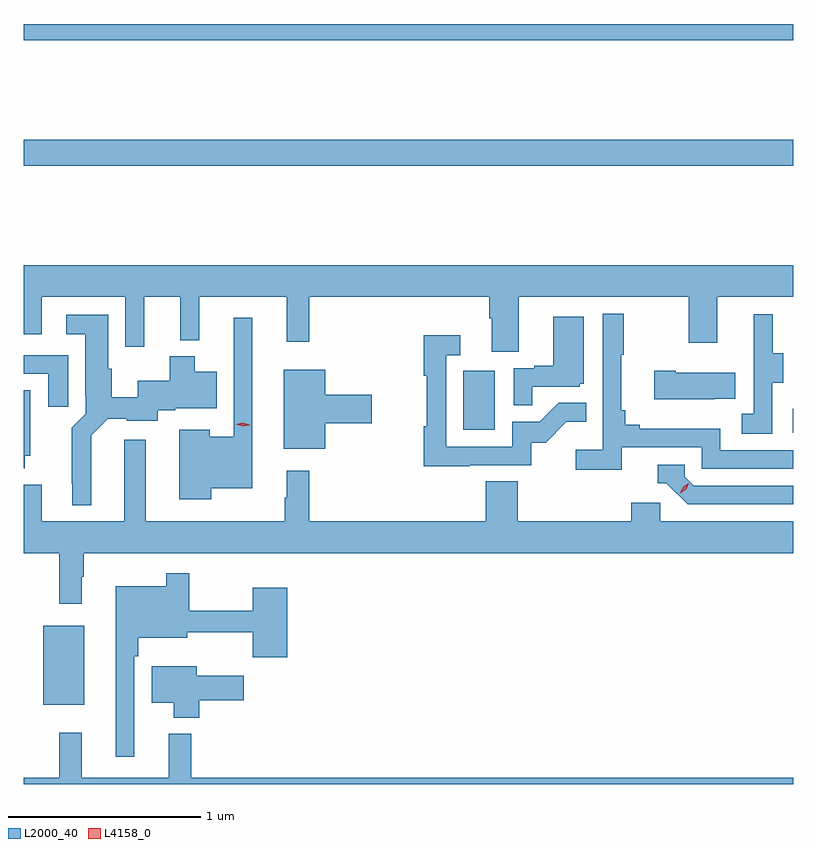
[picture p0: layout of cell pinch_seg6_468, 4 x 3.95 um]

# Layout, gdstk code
import gdstk
lib = gdstk.Library(unit=1e-6, precision=1e-09)
def R(c, l, rs):  # rectangles x0, y0, x1, y1
    for r in rs: c.add(gdstk.rectangle(r[:2], r[2:], *l))
def P(c, l, *ps):  # polygons
    for p in ps: c.add(gdstk.Polygon(p, *l))
L2000_40 = (2000, 40)
L4158_0 = (4158, 0)

pinch_seg6_468 = lib.new_cell('pinch_seg6_468')
R(pinch_seg6_468, L2000_40, [(866.21,915.911,866.425,916.321), (870.105,917.325,870.109,917.45), (868.394,917.34,868.558,917.647), (866.109,918.712,870.109,918.848), (866.109,919.364,870.109,919.449)])
P(pinch_seg6_468, L2000_40, [(868.681,918.032),(869.566,918.032),(869.566,917.793),(869.713,917.793),(869.713,918.032),(870.109,918.032),(870.109,918.196),(866.109,918.196),(866.109,917.838),(866.203,917.838),(866.203,918.032),(866.637,918.032),(866.637,917.772),(866.735,917.772),(866.735,918.032),(866.924,918.032),(866.924,917.807),(867.023,917.807),(867.023,918.032),(867.476,918.032),(867.476,917.799),(867.593,917.799),(867.593,918.032),(868.529,918.032),(868.529,917.92),(868.541,917.92),(868.541,917.746),(868.681,917.746)],
  [(869.216,917.25),(869.634,917.25),(869.634,917.139),(870.109,917.139),(870.109,917.235),(869.73,917.235),(869.73,917.347),(869.311,917.347),(869.311,917.366),(869.234,917.366),(869.234,917.443),(869.215,917.443),(869.215,917.731),(869.227,917.731),(869.227,917.944),(869.118,917.944),(869.118,917.236),(868.977,917.236),(868.977,917.134),(869.216,917.134)],
  [(870,917.584),(870.055,917.584),(870.055,917.739),(870.001,917.739),(870.001,917.941),(869.903,917.941),(869.903,917.727),(869.904,917.727),(869.904,917.423),(869.841,917.423),(869.841,917.32),(870,917.32)],
  [(866.461,917.312),(866.547,917.399),(866.646,917.399),(866.646,917.387),(866.807,917.387),(866.807,917.441),(866.896,917.441),(866.896,917.453),(867.112,917.453),(867.112,917.641),(866.998,917.641),(866.998,917.722),(866.869,917.722),(866.869,917.596),(866.703,917.596),(866.703,917.509),(866.566,917.509),(866.566,917.658),(866.548,917.658),(866.548,917.938),(866.331,917.938),(866.331,917.837),(866.429,917.837),(866.429,917.518),(866.433,917.518),(866.433,917.424),(866.359,917.35),(866.359,917.059),(866.363,917.059),(866.363,916.949),(866.461,916.949)],
  [(868.751,917.565),(868.998,917.565),(868.998,917.58),(869.02,917.58),(869.02,917.929),(868.862,917.929),(868.862,917.674),(868.763,917.674),(868.763,917.661),(868.656,917.661),(868.656,917.467),(868.751,917.467)],
  [(867.084,917.036),(867.298,917.036),(867.298,917.923),(867.201,917.923),(867.201,917.305),(867.076,917.305),(867.076,917.341),(866.918,917.341),(866.918,916.979),(867.084,916.979)],
  [(868.427,917.157),(868.746,917.157),(868.746,917.274),(868.822,917.274),(868.929,917.381),(869.033,917.381),(869.033,917.48),(868.889,917.48),(868.791,917.382),(868.647,917.382),(868.647,917.253),(868.305,917.253),(868.305,917.727),(868.378,917.727),(868.378,917.833),(868.189,917.833),(868.189,917.62),(868.204,917.62),(868.204,917.36),(868.189,917.36),(868.189,917.152),(868.427,917.152)],
  [(866.341,917.727),(866.109,917.727),(866.109,917.631),(866.237,917.631),(866.237,917.46),(866.341,917.46)],
  [(867.676,917.375),(867.919,917.375),(867.919,917.522),(867.676,917.522),(867.676,917.653),(867.461,917.653),(867.461,917.243),(867.676,917.243)],
  [(869.699,917.501),(869.807,917.501),(869.807,917.638),(869.497,917.638),(869.497,917.646),(869.385,917.646),(869.385,917.498),(869.699,917.498)],
  [(866.116,917.205),(866.143,917.205),(866.143,917.546),(866.109,917.546),(866.109,917.141),(866.116,917.141)],
  [(866.41,916.577),(866.422,916.577),(866.422,916.7),(870.109,916.7),(870.109,916.864),(869.418,916.864),(869.418,916.962),(869.267,916.962),(869.267,916.864),(868.676,916.864),(868.676,917.072),(868.511,917.072),(868.511,916.864),(867.593,916.864),(867.593,917.128),(867.476,917.128),(867.476,916.988),(867.465,916.988),(867.465,916.864),(866.743,916.864),(866.743,917.29),(866.633,917.29),(866.633,916.864),(866.203,916.864),(866.203,917.056),(866.109,917.056),(866.109,916.7),(866.293,916.7),(866.293,916.437),(866.41,916.437)],
  [(870.109,917.049),(869.592,917.049),(869.544,917.097),(869.544,917.16),(869.405,917.16),(869.405,917.064),(869.448,917.064),(869.559,916.953),(870.109,916.953)],
  [(866.685,916.163),(866.705,916.163),(866.705,916.259),(866.959,916.259),(866.959,916.288),(867.301,916.288),(867.301,916.158),(867.479,916.158),(867.479,916.519),(867.301,916.519),(867.301,916.399),(866.971,916.399),(866.971,916.594),(866.85,916.594),(866.85,916.528),(866.588,916.528),(866.588,915.642),(866.685,915.642)],
  [(867.023,915.934),(867.253,915.934),(867.253,916.063),(867.01,916.063),(867.01,916.111),(866.774,916.111),(866.774,915.923),(866.888,915.923),(866.888,915.845),(867.023,915.845)],
  [(870.109,915.532),(866.981,915.532),(866.981,915.76),(866.864,915.76),(866.864,915.532),(866.411,915.532),(866.411,915.766),(866.293,915.766),(866.293,915.532),(866.109,915.532),(866.109,915.5),(870.109,915.5)])
P(pinch_seg6_468, L4158_0, [(867.247,917.358),(867.212,917.37),(867.212,917.37),(867.212,917.37),(867.248,917.378),(867.283,917.366),(867.283,917.366),(867.283,917.365)],
  [(869.521,917.011),(869.521,917.012),(869.536,917.044),(869.566,917.064),(869.566,917.064),(869.566,917.064),(869.551,917.031),(869.521,917.011)])

lib.write_gds('pinch_seg6_468.gds')
